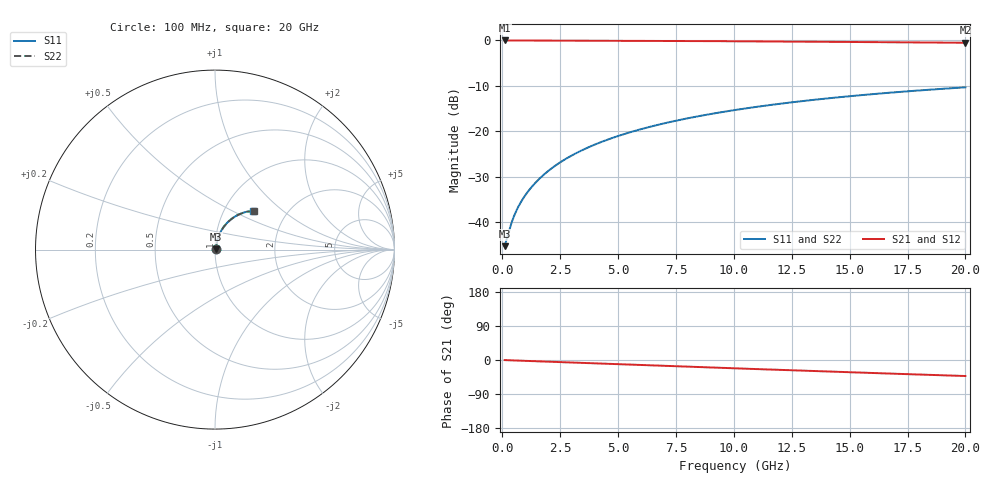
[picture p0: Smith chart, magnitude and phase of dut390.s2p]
! Touchstone file exported from HFSS 2026.1.0
!  File:  C:/ffzhzh/LocalFiles/Ansys_Project_Files/temp_train_TMRDL_390_1783004717_53980.aedt
!  Generated:  11:06:33 PM Jul  2, 2026
!  Design:  TMRDL
!  Project:  temp_train_TMRDL_390_1783004717_53980
! Variables:
!  h_bsmrdl = 2um
!  h_ox = 20um
!  h_rdl = 5um
!  h_sub = 80um
!  h_tmrdl = 2.34um
!  h_tsv = 80um
!  h_via = 3um
!  l_bsmrdl = 300um
!  l_sub = 1069.2um
!  l_tmrdl = 669.2um
!  m_sub = 200um
!  pitch = 35.32um
!  r_tsv = 6um
!  s_tmrdl = 10um
!  w_bsmrdl = 18um
!  w_sub = 500um
!  w_tmrdl = 21.12um
!  x_tsv_center1 = 679.76um
!  x_tsv_center2 = 997.76um
!  x_tsv_center3 = 1688.08um
!  x_tsv_center4 = 2006.08um
!  x_tsv_center5 = 2696.4um
!  x_tsv_center6 = 3014.4um
# GHz S MA R 50.000000
! Terminal data exported
! Port[1] = TM_RDL1_1_T1
! Port[2] = TM_RDL1_1_T2
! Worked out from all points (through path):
!   200 points, 100 MHz to 20 GHz, reference 50 ohm
!   highest |S21| = -0.04 dB at 100 MHz (marker M1); lowest = -0.6 dB at 20 GHz (marker M2)
!   group delay of S21, straight-line fit = 5.88 ps
!   lowest |S11| = -45.2 dB at 100 MHz (marker M3), VSWR 1.01, Z = 50.5 + j0.214 ohm
!   |S11| at or under -10 dB: start of sweep to end of sweep
!   |S22| runs from -45.2 to -10.3 dB; largest |S21 - S12| = 2.2e-15
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0.1  0.005482 22.7  0.995 -0.2  0.995 -0.2  0.005482 22.7
! Gamma 0 0 0 0
! Port Impedance 50 0 50 0
0.3  0.00826 48.3  0.9946 -0.7  0.9946 -0.7  0.008261 48.3
0.4  0.00993 54.4  0.9943 -0.9  0.9943 -0.9  0.00993 54.4
0.5  0.01162 58.5  0.9941 -1.2  0.9941 -1.2  0.01162 58.5
0.6  0.01331 61.5  0.9939 -1.4  0.9939 -1.4  0.01331 61.4
0.7  0.01498 63.7  0.9937 -1.6  0.9937 -1.6  0.01498 63.7
0.9  0.01832 67.1  0.9933 -2.1  0.9933 -2.1  0.01832 67.1
1.2  0.02335 70.4  0.993 -2.7  0.993 -2.7  0.02335 70.4
1.4  0.02673 71.9  0.9928 -3.2  0.9928 -3.2  0.02673 71.8
1.7  0.03184 73.4  0.9925 -3.8  0.9925 -3.8  0.03184 73.4
2.2  0.04044 74.8  0.992 -4.9  0.992 -4.9  0.04044 74.8
2.8  0.05083 75.4  0.9913 -6.2  0.9913 -6.2  0.05083 75.4
3.5  0.06297 75.3  0.9904 -7.8  0.9904 -7.8  0.06297 75.3
4.2  0.07507 74.7  0.9894 -9.3  0.9894 -9.3  0.07508 74.7
5  0.08881 73.7  0.988 -11.1  0.988 -11.1  0.08882 73.7
5.9  0.1041 72.3  0.9862 -13.0  0.9862 -13.0  0.1041 72.3
6.8  0.1192 70.8  0.9841 -15.0  0.9841 -15.0  0.1192 70.7
8.3  0.1438 68.0  0.9802 -18.2  0.9802 -18.2  0.1438 68.0
10.1  0.1722 64.6  0.9748 -22.1  0.9748 -22.1  0.1722 64.5
13.4  0.221 58.1  0.9636 -29.0  0.9636 -29.0  0.2211 57.9
16.7  0.2651 51.6  0.9512 -35.7  0.9512 -35.7  0.2652 51.4
20  0.3042 45.2  0.9386 -42.3  0.9386 -42.3  0.3042 45.1
